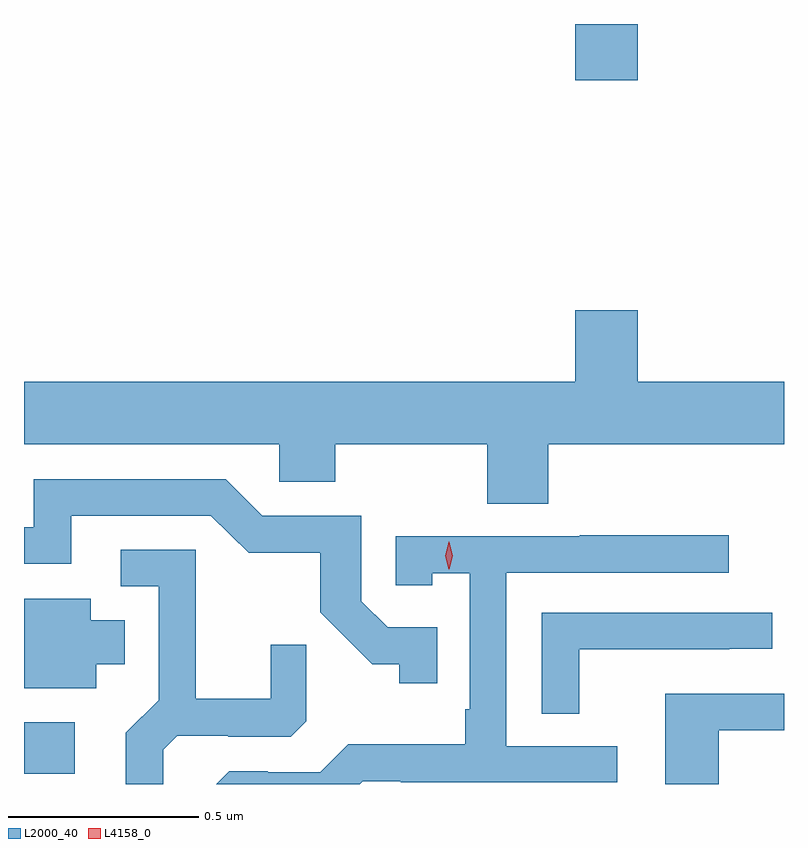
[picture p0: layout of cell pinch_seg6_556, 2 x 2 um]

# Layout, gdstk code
import gdstk
lib = gdstk.Library(unit=1e-6, precision=1e-09)
def R(c, l, rs):  # rectangles x0, y0, x1, y1
    for r in rs: c.add(gdstk.rectangle(r[:2], r[2:], *l))
def P(c, l, *ps):  # polygons
    for p in ps: c.add(gdstk.Polygon(p, *l))
L2000_40 = (2000, 40)
L4158_0 = (4158, 0)

pinch_seg6_556 = lib.new_cell('pinch_seg6_556')
R(pinch_seg6_556, L2000_40, [(822.897,922.493,823.03,922.629), (824.348,924.318,824.512,924.466)])
P(pinch_seg6_556, L2000_40, [(824.276,923.36),(824.897,923.36),(824.897,923.524),(824.512,923.524),(824.512,923.713),(824.348,923.713),(824.348,923.524),(822.897,923.524),(822.897,923.36),(823.569,923.36),(823.569,923.262),(823.716,923.262),(823.716,923.36),(824.116,923.36),(824.116,923.203),(824.276,923.203)],
  [(823.985,922.878),(823.854,922.878),(823.785,922.947),(823.785,923.172),(823.524,923.172),(823.428,923.268),(822.923,923.268),(822.923,923.142),(822.897,923.142),(822.897,923.046),(823.021,923.046),(823.021,923.172),(823.389,923.172),(823.488,923.074),(823.677,923.074),(823.677,922.918),(823.814,922.781),(823.884,922.781),(823.884,922.731),(823.985,922.731)],
  [(823.788,922.473),(823.888,922.473),(823.888,922.47),(824.458,922.47),(824.458,922.566),(824.166,922.566),(824.166,923.022),(824.752,923.022),(824.752,923.121),(824.359,923.121),(824.359,923.118),(823.875,923.118),(823.875,922.989),(823.971,922.989),(823.971,923.021),(824.07,923.021),(824.07,922.663),(824.058,922.663),(824.058,922.57),(823.75,922.57),(823.677,922.497),(823.538,922.497),(823.538,922.5),(823.437,922.5),(823.403,922.466),(823.781,922.466)],
  [(823.263,922.556),(823.3,922.593),(823.434,922.593),(823.434,922.59),(823.599,922.59),(823.64,922.631),(823.64,922.833),(823.546,922.833),(823.546,922.69),(823.349,922.69),(823.349,923.082),(823.152,923.082),(823.152,922.986),(823.251,922.986),(823.251,922.687),(823.165,922.601),(823.165,922.466),(823.263,922.466)],
  [(823.087,922.781),(823.162,922.781),(823.162,922.897),(823.072,922.897),(823.072,922.954),(822.897,922.954),(822.897,922.718),(823.087,922.718)],
  [(824.358,922.821),(824.753,922.821),(824.753,922.822),(824.866,922.822),(824.866,922.917),(824.259,922.917),(824.259,922.651),(824.358,922.651)],
  [(824.725,922.608),(824.897,922.608),(824.897,922.704),(824.585,922.704),(824.585,922.466),(824.725,922.466)])
P(pinch_seg6_556, L4158_0, [(824.015,923.031),(824.015,923.031),(824.005,923.067),(824.015,923.103),(824.015,923.103),(824.016,923.103),(824.025,923.067),(824.016,923.031)])

lib.write_gds('pinch_seg6_556.gds')
